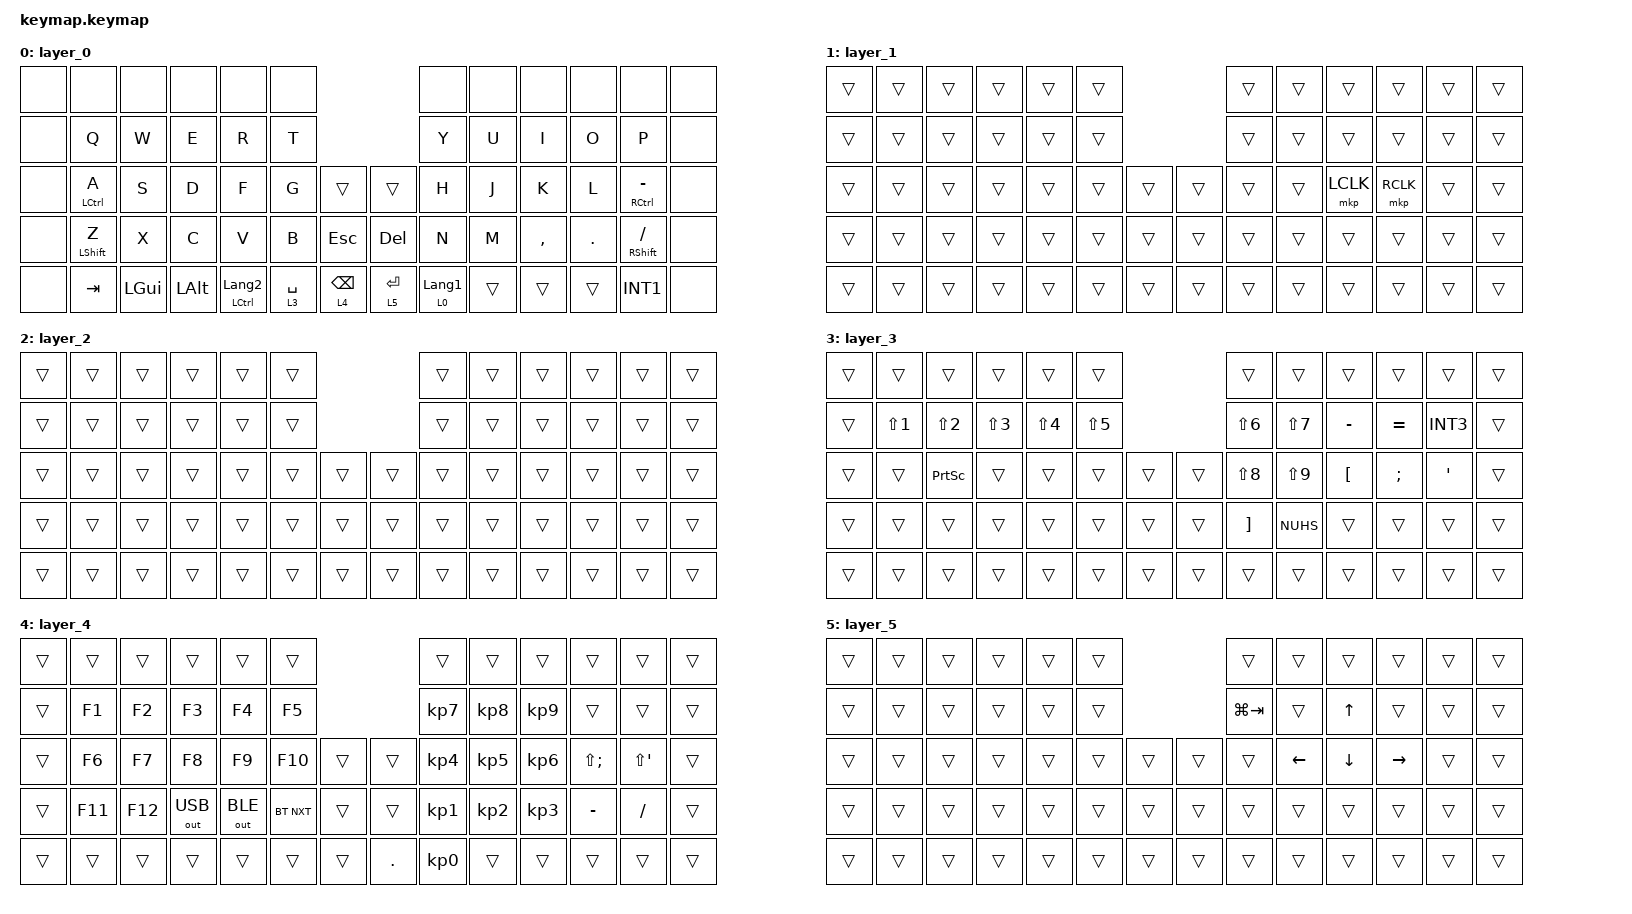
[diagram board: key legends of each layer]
#include <behaviors.dtsi>
#include <dt-bindings/zmk/bt.h>
#include <dt-bindings/zmk/keys.h>
#include <dt-bindings/zmk/outputs.h>
#include <dt-bindings/zmk/pointing.h>

/ {
    combos {
        compatible = "zmk,combos";

        bt_clear {
            bindings = <&bt BT_CLR>;
            key-positions = <28 29>;
            layers = <4>;
        };

        rayer_4 {
            bindings = <&mo 2>;
            key-positions = <34 35>;
            layers = <1 0>;
        };
    };

    keymap {
        compatible = "zmk,keymap";

        layer_0 {
            bindings = <
&none  &none               &none     &none         &none                 &none                                      &none             &none   &none      &none    &none                    &none
&none  &kp Q               &kp W     &kp E         &kp R                 &kp T                                      &kp Y             &kp U   &kp I      &kp O    &kp P                    &none
&none  &mt LEFT_CONTROL A  &kp S     &kp D         &kp F                 &kp G        &trans           &trans       &kp H             &kp J   &kp K      &kp L    &mt RIGHT_CONTROL MINUS  &none
&none  &mt LEFT_SHIFT Z    &kp X     &kp C         &kp V                 &kp B        &kp ESC          &kp DELETE   &kp N             &kp M   &kp COMMA  &kp DOT  &mt RIGHT_SHIFT FSLH     &none
&none  &kp TAB             &kp LGUI  &kp LEFT_ALT  &mt LCTRL LANGUAGE_2  &lt 3 SPACE  &lt 4 BACKSPACE  &lt 5 ENTER  &lt 0 LANGUAGE_1  &trans  &trans     &trans   &kp INT1                 &none
            >;
        };

        layer_1 {
            bindings = <
&trans  &trans  &trans  &trans  &trans  &trans                  &trans  &trans  &trans     &trans     &trans  &trans
&trans  &trans  &trans  &trans  &trans  &trans                  &trans  &trans  &trans     &trans     &trans  &trans
&trans  &trans  &trans  &trans  &trans  &trans  &trans  &trans  &trans  &trans  &mkp LCLK  &mkp RCLK  &trans  &trans
&trans  &trans  &trans  &trans  &trans  &trans  &trans  &trans  &trans  &trans  &trans     &trans     &trans  &trans
&trans  &trans  &trans  &trans  &trans  &trans  &trans  &trans  &trans  &trans  &trans     &trans     &trans  &trans
            >;
        };

        layer_2 {
            bindings = <
&trans  &trans  &trans  &trans  &trans  &trans                  &trans  &trans  &trans  &trans  &trans  &trans
&trans  &trans  &trans  &trans  &trans  &trans                  &trans  &trans  &trans  &trans  &trans  &trans
&trans  &trans  &trans  &trans  &trans  &trans  &trans  &trans  &trans  &trans  &trans  &trans  &trans  &trans
&trans  &trans  &trans  &trans  &trans  &trans  &trans  &trans  &trans  &trans  &trans  &trans  &trans  &trans
&trans  &trans  &trans  &trans  &trans  &trans  &trans  &trans  &trans  &trans  &trans  &trans  &trans  &trans
            >;
        };

        layer_3 {
            bindings = <
&trans  &trans      &trans           &trans      &trans      &trans                      &trans      &trans      &trans     &trans     &trans    &trans
&trans  &kp LS(N1)  &kp LS(N2)       &kp LS(N3)  &kp LS(N4)  &kp LS(N5)                  &kp LS(N6)  &kp LS(N7)  &kp MINUS  &kp EQUAL  &kp INT3  &trans
&trans  &trans      &kp PRINTSCREEN  &trans      &trans      &trans      &trans  &trans  &kp LS(N8)  &kp LS(N9)  &kp LBKT   &kp SEMI   &kp SQT   &trans
&trans  &trans      &trans           &trans      &trans      &trans      &trans  &trans  &kp RBKT    &kp NUHS    &trans     &trans     &trans    &trans
&trans  &trans      &trans           &trans      &trans      &trans      &trans  &trans  &trans      &trans      &trans     &trans     &trans    &trans
            >;
        };

        layer_4 {
            bindings = <
&trans  &trans   &trans   &trans        &trans        &trans                          &trans           &trans           &trans           &trans        &trans       &trans
&trans  &kp F1   &kp F2   &kp F3        &kp F4        &kp F5                          &kp KP_NUMBER_7  &kp KP_NUMBER_8  &kp KP_NUMBER_9  &trans        &trans       &trans
&trans  &kp F6   &kp F7   &kp F8        &kp F9        &kp F10     &trans  &trans      &kp KP_NUMBER_4  &kp KP_NUMBER_5  &kp KP_NUMBER_6  &kp LS(SEMI)  &kp LS(SQT)  &trans
&trans  &kp F11  &kp F12  &out OUT_USB  &out OUT_BLE  &bt BT_NXT  &trans  &trans      &kp KP_NUMBER_1  &kp KP_NUMBER_2  &kp KP_NUMBER_3  &kp MINUS     &kp SLASH    &trans
&trans  &trans   &trans   &trans        &trans        &trans      &trans  &kp PERIOD  &kp KP_NUMBER_0  &trans           &trans           &trans        &trans       &trans
            >;
        };

        layer_5 {
            bindings = <
&trans  &trans  &trans  &trans  &trans  &trans                  &trans       &trans    &trans    &trans     &trans  &trans
&trans  &trans  &trans  &trans  &trans  &trans                  &kp LG(TAB)  &trans    &kp UP    &trans     &trans  &trans
&trans  &trans  &trans  &trans  &trans  &trans  &trans  &trans  &trans       &kp LEFT  &kp DOWN  &kp RIGHT  &trans  &trans
&trans  &trans  &trans  &trans  &trans  &trans  &trans  &trans  &trans       &trans    &trans    &trans     &trans  &trans
&trans  &trans  &trans  &trans  &trans  &trans  &trans  &trans  &trans       &trans    &trans    &trans     &trans  &trans
            >;
        };
    };
};
